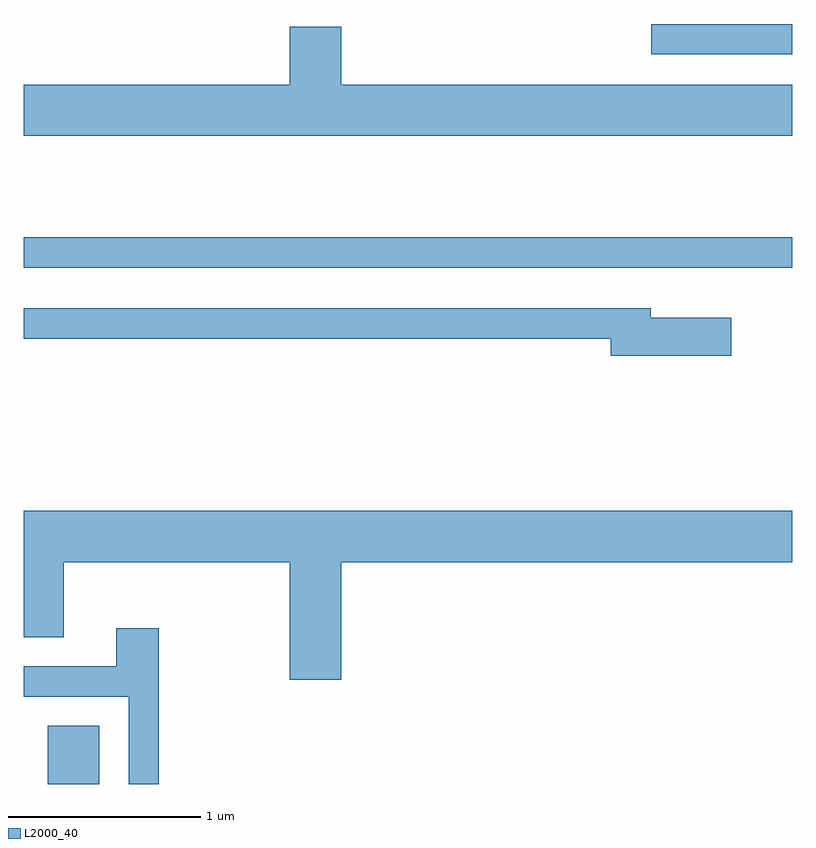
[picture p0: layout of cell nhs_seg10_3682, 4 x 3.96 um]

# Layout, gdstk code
import gdstk
lib = gdstk.Library(unit=1e-6, precision=1e-09)
def R(c, l, rs):  # rectangles x0, y0, x1, y1
    for r in rs: c.add(gdstk.rectangle(r[:2], r[2:], *l))
def P(c, l, *ps):  # polygons
    for p in ps: c.add(gdstk.Polygon(p, *l))
L2000_40 = (2000, 40)

nhs_seg10_3682 = lib.new_cell('nhs_seg10_3682')
R(nhs_seg10_3682, L2000_40, [(293.736,2130.522,294.004,2130.824), (293.611,2133.211,297.611,2133.369), (296.878,2134.321,297.611,2134.479)])
P(nhs_seg10_3682, L2000_40, [(297.611,2134.164),(295.264,2134.164),(295.264,2134.464),(294.996,2134.464),(294.996,2134.164),(293.611,2134.164),(293.611,2133.896),(297.611,2133.896)],
  [(297.294,2132.949),(296.874,2132.949),(296.874,2132.999),(293.611,2132.999),(293.611,2132.841),(296.666,2132.841),(296.666,2132.751),(297.294,2132.751)],
  [(295.264,2131.676),(297.611,2131.676),(297.611,2131.944),(293.611,2131.944),(293.611,2131.286),(293.819,2131.286),(293.819,2131.676),(294.996,2131.676),(294.996,2131.066),(295.264,2131.066)],
  [(294.314,2131.334),(294.091,2131.334),(294.091,2131.134),(293.611,2131.134),(293.611,2130.976),(294.156,2130.976),(294.156,2130.522),(294.314,2130.522)])

lib.write_gds('nhs_seg10_3682.gds')
